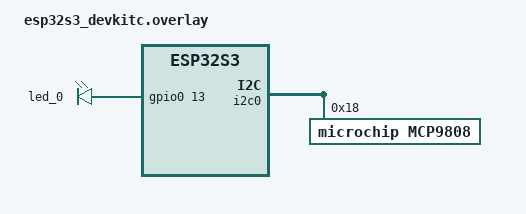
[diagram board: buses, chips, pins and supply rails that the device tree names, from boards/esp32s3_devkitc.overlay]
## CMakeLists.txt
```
# Minimum CMake version
cmake_minimum_required(VERSION 3.20.0)

# Add additional modules
set(ZEPHYR_EXTRA_MODULES "${CMAKE_SOURCE_DIR}/../../modules/mcp9808")

# Locate the Zephyr RTOS source
find_package(Zephyr REQUIRED HINTS $ENV{ZEPHYR_BASE})

# Name the project
project(temp_test)

# Locate the source code for the application
target_sources(app PRIVATE src/main.c)
```

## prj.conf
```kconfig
CONFIG_GPIO=y
CONFIG_SENSOR=y
CONFIG_I2C=y
CONFIG_MCP9808=y
CONFIG_LOG=y
CONFIG_LOG_DEFAULT_LEVEL=4
```

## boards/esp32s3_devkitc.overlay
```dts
/ {
    aliases {
        led0 = &{/leds/led_0};
    };

    leds {
        compatible = "gpio-leds";
        led_0 {
            gpios = <&gpio0 13 GPIO_ACTIVE_HIGH>;
        };
    };
};

&pinctrl {
    i2c0_custom_pins: i2c0_custom_pins {
        group1 {
            pinmux = <I2C0_SDA_GPIO9>, <I2C0_SCL_GPIO10>;
            bias-pull-up;
            drive-open-drain;
            output-high;
        };
    };
};

&i2c0 {
    pinctrl-0 = <&i2c0_custom_pins>;
    status = "okay";
    mcp9808@18 {
        compatible = "microchip,mcp9808";
        reg = <0x18>;
        status = "okay";
        resolution = <3>;
    };
};
```

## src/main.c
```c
#include <zephyr/kernel.h>
#include <zephyr/device.h>
#include <zephyr/drivers/sensor.h>
#include <stdio.h>

int main(void)
{
	const struct device *const mcp = DEVICE_DT_GET_ANY(microchip_mcp9808);
	int rc;

    // Check if the MCP9808 is found
	if (mcp == NULL) {
		printf("MCP9808 not found.\n");
		return 0;
	}

    // Check if the MCP9808 has been initialized (init function called)
	if (!device_is_ready(mcp)) {
		printf("Device %s is not ready.\n", mcp->name);
		return 0;
	}

    // Loop
    while (1) 
    {
        struct sensor_value tmp;

        // Fetch the temperature value from the sensor into the device's data structure
        rc = sensor_sample_fetch(mcp);
        if (rc != 0) {
            printf("Sample fetch error: %d\n", rc);
            return 0;
        }

        // Copy the temperature value from the device's data structure into the tmp struct
        rc = sensor_channel_get(mcp, SENSOR_CHAN_AMBIENT_TEMP, &tmp);
        if (rc != 0) {
            printf("Channel get error: %d\n", rc);
            return 0;
        }

        // Print the temperature value
        printf("Temperature: %d.%06d\n", tmp.val1, tmp.val2);

        // Sleep for 1 second
        k_sleep(K_SECONDS(1));
    }
    
    return 0;
}
```
